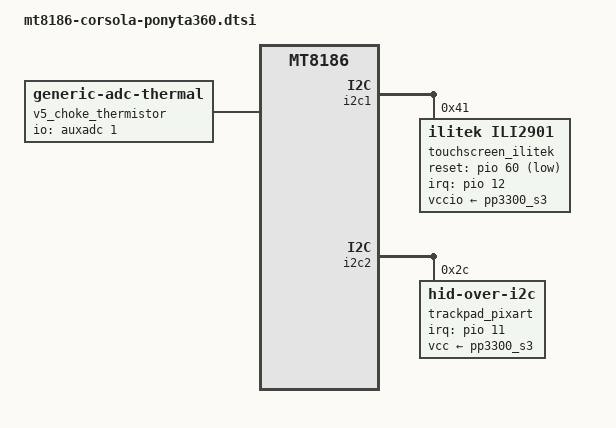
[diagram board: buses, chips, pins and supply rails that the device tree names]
// SPDX-License-Identifier: (GPL-2.0 OR MIT)
/*
 * Copyright 2025 Google LLC
 */

/dts-v1/;
#include "mt8186-corsola-ponyta.dtsi"

/ {
	/* This V5 refers to 5V NTC */
	v5_choke_thermistor: v5-choke-thermal-sensor {
		compatible = "generic-adc-thermal";
		#thermal-sensor-cells = <0>;
		io-channels = <&auxadc 1>;
		io-channel-names = "sensor-channel";
		temperature-lookup-table = <    (-5000) 1485
						0 1406
						5000 1317
						10000 1219
						15000 1115
						20000 1007
						25000 900
						30000 796
						35000 697
						40000 605
						45000 523
						50000 449
						55000 384
						60000 327
						65000 279
						70000 237
						75000 202
						80000 172
						85000 147
						90000 125
						95000 107
						100000 92
						105000 79
						110000 68
						115000 59
						120000 51
						125000 44>;
	};
};

&i2c1 {
	touchscreen_ilitek: touchscreen@41 {
		compatible = "ilitek,ili2901";
		reg = <0x41>;
		interrupts-extended = <&pio 12 IRQ_TYPE_LEVEL_LOW>;
		pinctrl-names = "default";
		pinctrl-0 = <&touchscreen_pins>;
		panel = <&panel>;
		reset-gpios = <&pio 60 GPIO_ACTIVE_LOW>;
		vccio-supply = <&pp3300_s3>;
	};
};

&i2c2 {
	i2c-scl-internal-delay-ns = <22000>;

	trackpad_pixart: trackpad@2c {
		compatible = "hid-over-i2c";
		reg = <0x2c>;
		hid-descr-addr = <0x20>;
		interrupts-extended = <&pio 11 IRQ_TYPE_LEVEL_LOW>;
		vcc-supply = <&pp3300_s3>;
		wakeup-source;
	};
};

&keyboard_controller {
	function-row-physmap = <
		MATRIX_KEY(0x00, 0x02, 0)	/* T1 */
		MATRIX_KEY(0x03, 0x02, 0)	/* T2 */
		MATRIX_KEY(0x02, 0x02, 0)	/* T3 */
		MATRIX_KEY(0x01, 0x02, 0)	/* T4 */
		MATRIX_KEY(0x03, 0x04, 0)	/* T5 */
		MATRIX_KEY(0x02, 0x04, 0)	/* T6 */
		MATRIX_KEY(0x01, 0x04, 0)	/* T7 */
		MATRIX_KEY(0x00, 0x04, 0)	/* T8 */
		MATRIX_KEY(0x00, 0x01, 0)	/* T9 */
		MATRIX_KEY(0x02, 0x09, 0)	/* T10 */
	>;

	linux,keymap = <
		CROS_STD_MAIN_KEYMAP
		MATRIX_KEY(0x00, 0x02, KEY_BACK)
		MATRIX_KEY(0x03, 0x02, KEY_REFRESH)
		MATRIX_KEY(0x02, 0x02, KEY_FORWARD)
		MATRIX_KEY(0x01, 0x02, KEY_ZOOM)
		MATRIX_KEY(0x03, 0x04, KEY_SCALE)
		MATRIX_KEY(0x02, 0x04, KEY_BRIGHTNESSDOWN)
		MATRIX_KEY(0x01, 0x04, KEY_BRIGHTNESSUP)
		MATRIX_KEY(0x00, 0x04, KEY_MUTE)
		MATRIX_KEY(0x00, 0x01, KEY_VOLUMEDOWN)
		MATRIX_KEY(0x02, 0x09, KEY_VOLUMEUP)
		MATRIX_KEY(0x00, 0x07, KEY_MUHENKAN)
		MATRIX_KEY(0x00, 0x09, KEY_HENKAN)
	>;
};

&mt6366codec {
	mediatek,dmic-mode = <0>; /* two-wires */
};

&thermal_zones {
	v5-choke-thermal {
		polling-delay = <1000>; /* milliseconds */
		polling-delay-passive = <50>; /* milliseconds */
		thermal-sensors = <&v5_choke_thermistor>;
		sustainable-power = <1000>;

		trips {
			v5_choke_alert0: trip-point@0 {
				temperature = <50000>;
				hysteresis = <2000>;
				type = "passive";
			};

			v5_choke_alert1: target@1 {
				temperature = <60000>;
				hysteresis = <2000>;
				type = "passive";
			};

			v5_choke_ntc_crit: v5-choke-ntc-crit@0 {
				temperature = <80000>;
				hysteresis = <2000>;
				type = "critical";
			};
		};

		cooling-maps {
			map0 {
				trip = <&v5_choke_alert1>;
				cooling-device = <&cpu0
					THERMAL_NO_LIMIT
					THERMAL_NO_LIMIT>,
						<&cpu1
					THERMAL_NO_LIMIT
					THERMAL_NO_LIMIT>,
						<&cpu2
					THERMAL_NO_LIMIT
					THERMAL_NO_LIMIT>,
						<&cpu3
					THERMAL_NO_LIMIT
					THERMAL_NO_LIMIT>,
						<&cpu4
					THERMAL_NO_LIMIT
					THERMAL_NO_LIMIT>,
						<&cpu5
					THERMAL_NO_LIMIT
					THERMAL_NO_LIMIT>;
				contribution = <4096>;
			};

			map1 {
				trip = <&v5_choke_alert1>;
				cooling-device = <&cpu6
					THERMAL_NO_LIMIT
					THERMAL_NO_LIMIT>,
						<&cpu7
					THERMAL_NO_LIMIT
					THERMAL_NO_LIMIT>;
				contribution = <1024>;
			};
		};
	};
};

&touchscreen {
	status = "disabled";
};
